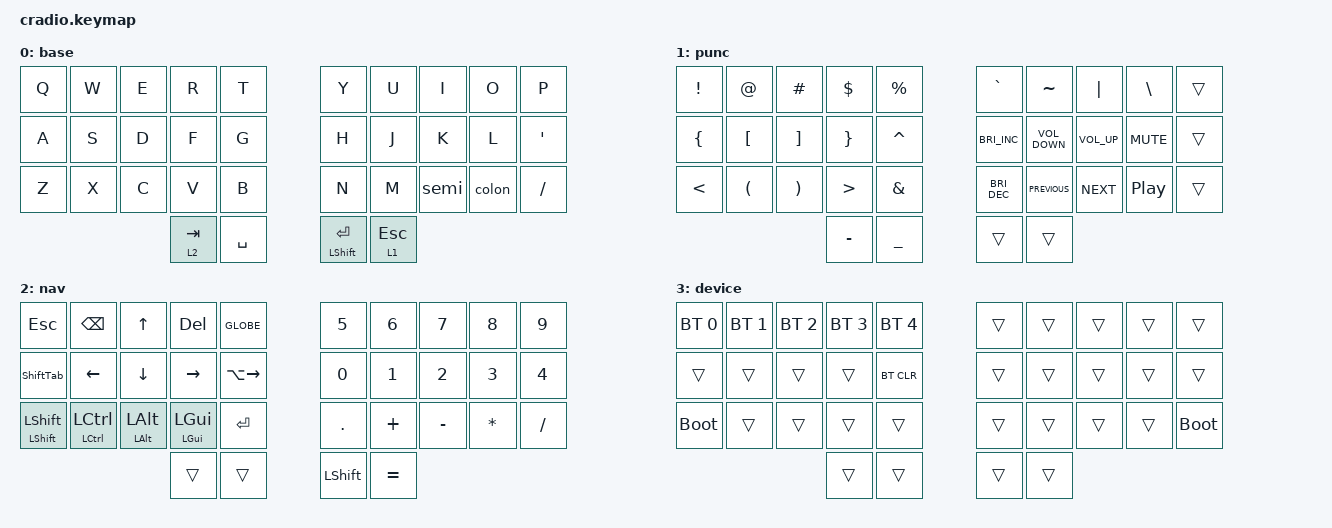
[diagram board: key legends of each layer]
// Copyright (c) 2022 The ZMK Contributors
// SPDX-License-Identifier: MIT

#define ZMK_MOUSE_DEFAULT_MOVE_VAL 2500  // 600
#define ZMK_MOUSE_DEFAULT_SCRL_VAL 20    // 10

#include <behaviors.dtsi>
#include <dt-bindings/zmk/bt.h>
#include <dt-bindings/zmk/keys.h>

#define MAC 0
#define WIN 1
#define RIG 2
#define LEF 3
#define TRI 4
#define MOUSE 5
#define U_MS_U &mmv MOVE_UP
#define U_MS_D &mmv MOVE_DOWN
#define U_MS_L &mmv MOVE_LEFT
#define U_MS_R &mmv MOVE_RIGHT
#define U_WH_U &msc SCRL_UP
#define U_WH_D &msc SCRL_DOWN
#define U_WH_L &msc SCRL_LEFT
#define U_WH_R &msc SCRL_RIGHT

&sk {
    release-after-ms = <1500>;
    quick-release;
};

&lt { flavor = "hold-preferred"; };

/ {
    chosen { zmk,charmap = &charmap_us; };

    behaviors {
        mmv {
            acceleration-exponent = <1>;      // 1
            time-to-max-speed-ms = <300>;    // 40
            delay-ms = <0>;                   // 0
        };

        msc {
            acceleration-exponent = <0>;      // 0
            time-to-max-speed-ms = <40>;      // 500
            delay-ms = <0>;                   // 10
        };

        sh: sh {
            compatible = "zmk,behavior-hold-tap";
            label = "SH";
            bindings = <&kp>, <&sk>;

            #binding-cells = <2>;
            hold-while-undecided;
            tapping-term-ms = <200>;
            flavor = "tap-preferred";
            hold-while-undecided-linger;
        };

        ShiftTab: ShiftTab {
            compatible = "zmk,behavior-mod-morph";
            label = "SHIFTTAB";
            bindings = <&kp LA(LEFT)>, <&kp LS(TAB)>;

            #binding-cells = <0>;
            mods = <(MOD_LCTL|MOD_LGUI)>;
            keep-mods = <(MOD_LCTL|MOD_LGUI)>;
        };

        semi: semi {
            compatible = "zmk,behavior-mod-morph";
            label = "SEMI";
            bindings = <&kp COMMA>, <&kp SEMICOLON>;

            #binding-cells = <0>;
            mods = <(MOD_LSFT|MOD_RSFT)>;
        };

        colon: colon {
            compatible = "zmk,behavior-mod-morph";
            label = "COLON";
            bindings = <&kp PERIOD>, <&kp COLON>;

            #binding-cells = <0>;
            mods = <(MOD_LSFT|MOD_RSFT)>;
        };
    };

    conditional_layers {
        compatible = "zmk,conditional-layers";

        bl {
            if-layers = <1 2>;
            then-layer = <3>;
        };
    };

    combos { compatible = "zmk,combos"; };

    keymap {
        compatible = "zmk,keymap";

        base {
            bindings = <
&kp Q  &kp W  &kp E  &kp R      &kp T        &kp Y                 &kp U         &kp I  &kp O   &kp P
&kp A  &kp S  &kp D  &kp F      &kp G        &kp H                 &kp J         &kp K  &kp L   &kp SINGLE_QUOTE
&kp Z  &kp X  &kp C  &kp V      &kp B        &kp N                 &kp M         &semi  &colon  &kp SLASH
                     &lt 2 TAB  &kp SPACE    &mt LEFT_SHIFT ENTER  &lt 1 ESCAPE
            >;
        };

        punc {
            bindings = <
&kp EXCLAMATION  &kp AT_SIGN           &kp HASH               &kp DOLLAR        &kp PERCENT       &kp GRAVE             &kp TILDE          &kp PIPE         &kp BACKSLASH     &trans
&kp LEFT_BRACE   &kp LEFT_BRACKET      &kp RIGHT_BRACKET      &kp RIGHT_BRACE   &kp CARET         &kp C_BRIGHTNESS_INC  &kp C_VOLUME_DOWN  &kp C_VOLUME_UP  &kp C_MUTE        &trans
&kp LESS_THAN    &kp LEFT_PARENTHESIS  &kp RIGHT_PARENTHESIS  &kp GREATER_THAN  &kp AMPERSAND     &kp C_BRIGHTNESS_DEC  &kp C_PREVIOUS     &kp C_NEXT       &kp C_PLAY_PAUSE  &trans
                                                              &kp MINUS         &kp UNDERSCORE    &trans                &trans
            >;
        };

        nav {
            bindings = <
&kp ESCAPE            &kp BSPC         &kp UP         &kp DEL        &kp GLOBE        &kp N5          &kp N6     &kp N7     &kp N8    &kp N9
&ShiftTab             &kp LEFT         &kp DOWN       &kp RIGHT      &kp LA(RIGHT)    &kp N0          &kp N1     &kp N2     &kp N3    &kp N4
&sh LSHFT LEFT_SHIFT  &sh LCTRL LCTRL  &sh LALT LALT  &sh LGUI LGUI  &kp RET          &kp DOT         &kp PLUS   &kp MINUS  &kp STAR  &kp FSLH
                                                      &trans         &trans           &kp LEFT_SHIFT  &kp EQUAL
            >;
        };

        device {
            bindings = <
&bt BT_SEL 0  &bt BT_SEL 1  &bt BT_SEL 2  &bt BT_SEL 3  &bt BT_SEL 4    &trans  &trans  &trans  &trans  &trans
&trans        &trans        &trans        &trans        &bt BT_CLR      &trans  &trans  &trans  &trans  &trans
&bootloader   &trans        &trans        &trans        &trans          &trans  &trans  &trans  &trans  &bootloader
                                          &trans        &trans          &trans  &trans
            >;
        };
    };
};
